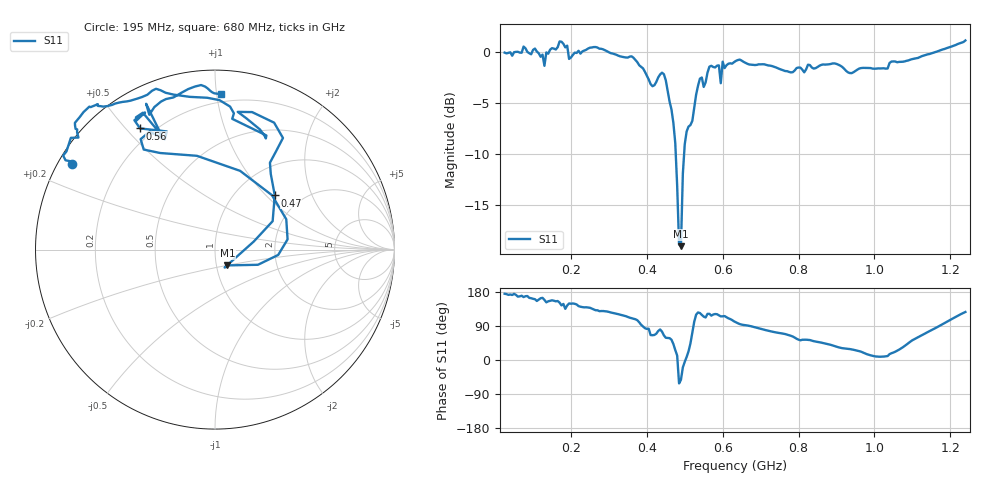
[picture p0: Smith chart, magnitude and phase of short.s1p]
!Created with skrf (http://scikit-rf.org).
# Hz S RI R 50.0
!freq ReS11 ImS11
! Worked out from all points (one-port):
!   244 points, 25 MHz to 1.24 GHz, reference 50 ohm
!   lowest |S11| = -19.0 dB at 490 MHz (marker M1), VSWR 1.25, Z = 56.4 - j10.1 ohm
!   |S11| at or under -10 dB: 476.3 MHz to 498.3 MHz (22.03 MHz wide, 4.52 % of centre)
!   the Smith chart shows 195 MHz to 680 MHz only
!   S11 on the Smith chart (normalised r, x): 195 MHz: 0.04, +0.28; 470 MHz: 1.49, +1.13; 560 MHz: 0.15, +0.55; 680 MHz: 0.15, +1.03
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2.5e7  -0.9916 0.0897
1.1e8  -0.9187 0.4136
1.3e8  -0.7987 0.312
1.8e8  -0.9314 0.5845
1.85e8  -0.7476 0.7468
1.95e8  -0.796 0.4752
3.3e8  -0.471 0.8296
3.75e8  -0.2292 0.8633
4.1e8  0.2863 0.6359
4.4e8  0.2067 0.7661
4.7e8  0.3331 0.302
4.85e8  0.0536 -0.1001
4.9e8  0.0687 -0.088
4.95e8  0.2392 -0.0846
5.1e8  0.3971 0.169
5.35e8  -0.3972 0.5574
5.55e8  -0.2686 0.6584
5.6e8  -0.4175 0.6751
5.95e8  -0.2982 0.6382
6e8  -0.3838 0.8124
6.35e8  -0.1492 0.8944
6.8e8  0.0346 0.8654
7.85e8  0.3765 0.7041
9.4e8  0.6966 0.3716
1.03e9  0.819 0.1392
1.09e9  0.6475 0.6421
1.17e9  0.0175 1.015
1.24e9  -0.6827 0.9158
